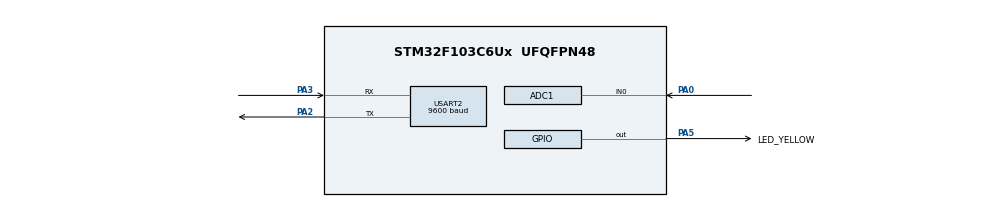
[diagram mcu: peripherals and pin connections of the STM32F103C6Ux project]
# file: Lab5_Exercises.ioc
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ADC1.Channel-0\#ChannelRegularConversion=ADC_CHANNEL_0
ADC1.ContinuousConvMode=ENABLE
ADC1.NbrOfConversionFlag=1
ADC1.Rank-0\#ChannelRegularConversion=1
ADC1.SamplingTime-0\#ChannelRegularConversion=ADC_SAMPLETIME_1CYCLE_5
ADC1.master=1
Mcu.Family=STM32F1
Mcu.Name=STM32F103C6Ux
Mcu.Package=UFQFPN48
NVIC.PriorityGroup=NVIC_PRIORITYGROUP_4
NVIC.TIM2_IRQn=true\:0\:0\:false\:false\:true\:true\:true
NVIC.USART2_IRQn=true\:0\:0\:false\:false\:true\:true\:true
PA0-WKUP.Signal=ADCx_IN0
PA2.Mode=Asynchronous
PA2.Signal=USART2_TX
PA3.Mode=Asynchronous
PA3.Signal=USART2_RX
PA5.GPIO_Label=LED_YELLOW
PA5.Signal=GPIO_Output
ProjectManager.HeapSize=0x200
ProjectManager.StackSize=0x400
ProjectManager.TargetToolchain=STM32CubeIDE
RCC.APB1Freq_Value=8000000
RCC.APB2Freq_Value=8000000
SH.ADCx_IN0.0=ADC1_IN0,IN0
TIM2.Period=9
TIM2.Prescaler=7999
USART2.BaudRate=9600
USART2.VirtualMode=VM_ASYNC
VP_SYS_VS_ND.Mode=No_Debug
VP_TIM2_VS_ClockSourceINT.Mode=Internal
board=custom

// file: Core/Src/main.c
/* USER CODE BEGIN Header */
/**
  ******************************************************************************
  * @file           : main.c
  * @brief          : Main program body
  ******************************************************************************
  * @attention
  *
  * <h2><center>&copy; Copyright (c) 2023 STMicroelectronics.
  * All rights reserved.</center></h2>
  *
  * This software component is licensed by ST under BSD 3-Clause license,
  * the "License"; You may not use this file except in compliance with the
  * License. You may obtain a copy of the License at:
  *                        opensource.org/licenses/BSD-3-Clause
  *
  ******************************************************************************
  */
/* USER CODE END Header */
#include "main.h"

/* USER CODE BEGIN Includes */
#include "scheduler.h"
#include "command_parser.h"
#include "uart_fsm.h"
/* USER CODE END Includes */

ADC_HandleTypeDef hadc1;

TIM_HandleTypeDef htim2;

UART_HandleTypeDef huart2;

void SystemClock_Config(void);
static void MX_GPIO_Init(void);
static void MX_ADC1_Init(void);
static void MX_USART2_UART_Init(void);
static void MX_TIM2_Init(void);

/* USER CODE BEGIN 0 */
void HAL_UART_RxCpltCallback(UART_HandleTypeDef * huart) {
	if(huart -> Instance == USART2 ){
		 buffer[index_buffer++] = temp;
		 if(index_buffer == 30) index_buffer = 0;

		 buffer_flag = 1;
		 HAL_UART_Transmit(&huart2, &temp, 1, 1000);
		 HAL_UART_Receive_IT (&huart2 , &temp , 1);
	 }
}

void blinkyLed() {
	HAL_GPIO_TogglePin(LED_YELLOW_GPIO_Port, LED_YELLOW_Pin);
}
void runUart(){
	uart_communication_fsm();
}

void runParser(){
   if(buffer_flag == 1){
	   command_parser_fsm();
	   buffer_flag = 0;
   }
}
/* USER CODE END 0 */

int main(void)
{
  /* USER CODE BEGIN 1 */
	parser_status = START_PARSER;
	uart_status = WAIT_COMMAND;
  /* USER CODE END 1 */

  /* MCU Configuration--------------------------------------------------------*/

  /* Reset of all peripherals, Initializes the Flash interface and the Systick. */
  HAL_Init();

  /* Configure the system clock */
  SystemClock_Config();

  /* Initialize all configured peripherals */
  MX_GPIO_Init();
  MX_ADC1_Init();
  MX_USART2_UART_Init();
  MX_TIM2_Init();
  /* USER CODE BEGIN 2 */
  HAL_TIM_Base_Start_IT(&htim2);
  HAL_ADC_Start(&hadc1);
  HAL_UART_Receive_IT(&huart2, &temp, 1);
  /* USER CODE END 2 */

  /* Infinite loop */
  /* USER CODE BEGIN WHILE */
  SCH_Init();
  SCH_Add_Task(timerRun, 0, 1);
  SCH_Add_Task(blinkyLed, 0, 50);
  SCH_Add_Task(runParser, 0, 50);
  SCH_Add_Task(runUart, 0, 50);

  while (1)
  {
	  SCH_Dispatch_Tasks();
    /* USER CODE END WHILE */

  }
}

void SystemClock_Config(void)
{
  RCC_OscInitTypeDef RCC_OscInitStruct = {0};
  RCC_ClkInitTypeDef RCC_ClkInitStruct = {0};
  RCC_PeriphCLKInitTypeDef PeriphClkInit = {0};

  /** Initializes the RCC Oscillators according to the specified parameters
  * in the RCC_OscInitTypeDef structure.
  */
  RCC_OscInitStruct.OscillatorType = RCC_OSCILLATORTYPE_HSI;
  RCC_OscInitStruct.HSIState = RCC_HSI_ON;
  RCC_OscInitStruct.HSICalibrationValue = RCC_HSICALIBRATION_DEFAULT;
  RCC_OscInitStruct.PLL.PLLState = RCC_PLL_NONE;
  if (HAL_RCC_OscConfig(&RCC_OscInitStruct) != HAL_OK)
  {
    Error_Handler();
  }
  /** Initializes the CPU, AHB and APB buses clocks
  */
  RCC_ClkInitStruct.ClockType = RCC_CLOCKTYPE_HCLK|RCC_CLOCKTYPE_SYSCLK
                              |RCC_CLOCKTYPE_PCLK1|RCC_CLOCKTYPE_PCLK2;
  RCC_ClkInitStruct.SYSCLKSource = RCC_SYSCLKSOURCE_HSI;
  RCC_ClkInitStruct.AHBCLKDivider = RCC_SYSCLK_DIV1;
  RCC_ClkInitStruct.APB1CLKDivider = RCC_HCLK_DIV1;
  RCC_ClkInitStruct.APB2CLKDivider = RCC_HCLK_DIV1;

  if (HAL_RCC_ClockConfig(&RCC_ClkInitStruct, FLASH_LATENCY_0) != HAL_OK)
  {
    Error_Handler();
  }
  PeriphClkInit.PeriphClockSelection = RCC_PERIPHCLK_ADC;
  PeriphClkInit.AdcClockSelection = RCC_ADCPCLK2_DIV2;
  if (HAL_RCCEx_PeriphCLKConfig(&PeriphClkInit) != HAL_OK)
  {
    Error_Handler();
  }
}

static void MX_ADC1_Init(void)
{

  ADC_ChannelConfTypeDef sConfig = {0};

  /** Common config
  */
  hadc1.Instance = ADC1;
  hadc1.Init.ScanConvMode = ADC_SCAN_DISABLE;
  hadc1.Init.ContinuousConvMode = ENABLE;
  hadc1.Init.DiscontinuousConvMode = DISABLE;
  hadc1.Init.ExternalTrigConv = ADC_SOFTWARE_START;
  hadc1.Init.DataAlign = ADC_DATAALIGN_RIGHT;
  hadc1.Init.NbrOfConversion = 1;
  if (HAL_ADC_Init(&hadc1) != HAL_OK)
  {
    Error_Handler();
  }
  /** Configure Regular Channel
  */
  sConfig.Channel = ADC_CHANNEL_0;
  sConfig.Rank = ADC_REGULAR_RANK_1;
  sConfig.SamplingTime = ADC_SAMPLETIME_1CYCLE_5;
  if (HAL_ADC_ConfigChannel(&hadc1, &sConfig) != HAL_OK)
  {
    Error_Handler();
  }

}

static void MX_TIM2_Init(void)
{

  TIM_ClockConfigTypeDef sClockSourceConfig = {0};
  TIM_MasterConfigTypeDef sMasterConfig = {0};

  htim2.Instance = TIM2;
  htim2.Init.Prescaler = 7999;
  htim2.Init.CounterMode = TIM_COUNTERMODE_UP;
  htim2.Init.Period = 9;
  htim2.Init.ClockDivision = TIM_CLOCKDIVISION_DIV1;
  htim2.Init.AutoReloadPreload = TIM_AUTORELOAD_PRELOAD_DISABLE;
  if (HAL_TIM_Base_Init(&htim2) != HAL_OK)
  {
    Error_Handler();
  }
  sClockSourceConfig.ClockSource = TIM_CLOCKSOURCE_INTERNAL;
  if (HAL_TIM_ConfigClockSource(&htim2, &sClockSourceConfig) != HAL_OK)
  {
    Error_Handler();
  }
  sMasterConfig.MasterOutputTrigger = TIM_TRGO_RESET;
  sMasterConfig.MasterSlaveMode = TIM_MASTERSLAVEMODE_DISABLE;
  if (HAL_TIMEx_MasterConfigSynchronization(&htim2, &sMasterConfig) != HAL_OK)
  {
    Error_Handler();
  }

}

static void MX_USART2_UART_Init(void)
{

  huart2.Instance = USART2;
  huart2.Init.BaudRate = 9600;
  huart2.Init.WordLength = UART_WORDLENGTH_8B;
  huart2.Init.StopBits = UART_STOPBITS_1;
  huart2.Init.Parity = UART_PARITY_NONE;
  huart2.Init.Mode = UART_MODE_TX_RX;
  huart2.Init.HwFlowCtl = UART_HWCONTROL_NONE;
  huart2.Init.OverSampling = UART_OVERSAMPLING_16;
  if (HAL_UART_Init(&huart2) != HAL_OK)
  {
    Error_Handler();
  }

}

static void MX_GPIO_Init(void)
{
  GPIO_InitTypeDef GPIO_InitStruct = {0};

  /* GPIO Ports Clock Enable */
  __HAL_RCC_GPIOA_CLK_ENABLE();

  /*Configure GPIO pin Output Level */
  HAL_GPIO_WritePin(LED_YELLOW_GPIO_Port, LED_YELLOW_Pin, GPIO_PIN_RESET);

  /*Configure GPIO pin : LED_YELLOW_Pin */
  GPIO_InitStruct.Pin = LED_YELLOW_Pin;
  GPIO_InitStruct.Mode = GPIO_MODE_OUTPUT_PP;
  GPIO_InitStruct.Pull = GPIO_NOPULL;
  GPIO_InitStruct.Speed = GPIO_SPEED_FREQ_LOW;
  HAL_GPIO_Init(LED_YELLOW_GPIO_Port, &GPIO_InitStruct);

}

/* USER CODE BEGIN 4 */
void HAL_TIM_PeriodElapsedCallback(TIM_HandleTypeDef *htim) {
	SCH_Update();
}
/* USER CODE END 4 */

void Error_Handler(void)
{
  __disable_irq();
  while (1)
  {
  }
}

/************************ (C) COPYRIGHT STMicroelectronics *****END OF FILE****/
